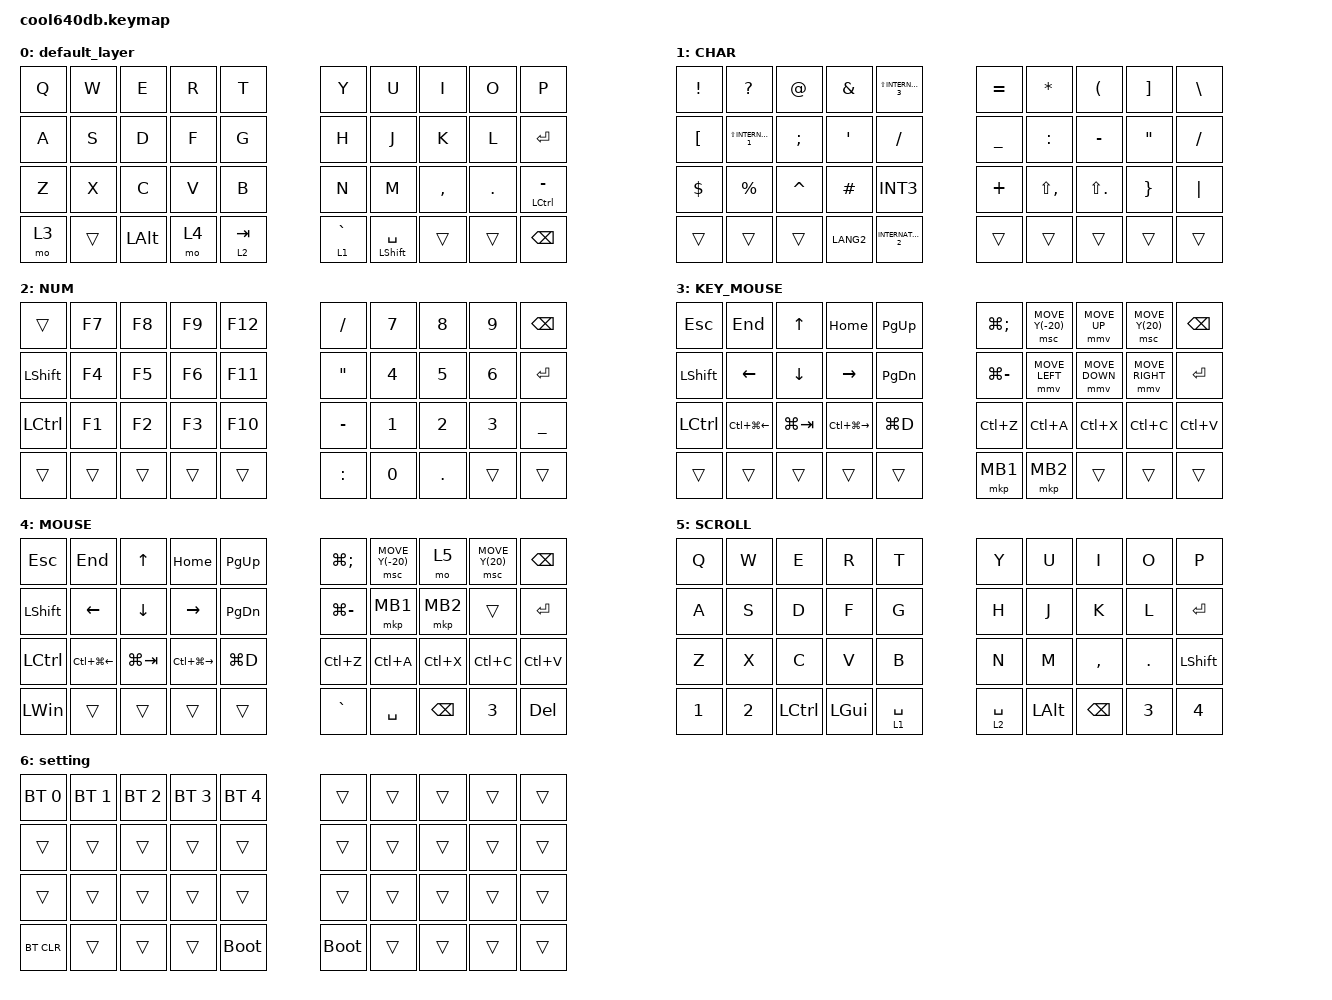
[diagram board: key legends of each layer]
#include <behaviors.dtsi>
#include <dt-bindings/zmk/bt.h>
#include <dt-bindings/zmk/keys.h>
#include <dt-bindings/zmk/pointing.h>

#define MOUSE 6

&mt {
    flavor = "balanced";
    quick-tap-ms = <0>;
};

/ {
    combos {
        compatible = "zmk,combos";

        BS {
            bindings = <&kp BACKSPACE>;
            key-positions = <9 8>;
            layers = <0>;
        };

        del {
            bindings = <&kp DEL>;
            key-positions = <7 8>;
        };

        to_mouse_layer {
            bindings = <&tog 4>;
            key-positions = <16 18>;
        };

        shift_tab {
            bindings = <&kp LANG2>;
            key-positions = <12 13>;
        };

        lang {
            bindings = <&kp LANG1>;
            key-positions = <16 17>;
        };

        to_setting {
            bindings = <&mo 6>;
            key-positions = <37 38>;
        };

        To_Key_Mouse_Layer {
            bindings = <&tog 3>;
            key-positions = <6 8>;
        };
    };

    macros {
        to_layer_0: to_layer_0 {
            compatible = "zmk,behavior-macro-one-param";
            #binding-cells = <1>;
            bindings = <&to 0 &macro_param_1to1 &kp MACRO_PLACEHOLDER>;
            label = "TO_LAYER_0";
        };
    };

    lt_to_layer_0: lt_to_layer_0 {
        compatible = "zmk,behavior-hold-tap";
        label = "LAYER_TAP_TO_0";
        bindings = <&mo>, <&to_layer_0>;

        #binding-cells = <2>;
        tapping-term-ms = <200>;
    };
};

/ {
    behaviors {
    };

    keymap {
        compatible = "zmk,keymap";

        default_layer {
            bindings = <
&kp Q  &kp W   &kp E     &kp R  &kp T      &kp Y        &kp U             &kp I      &kp O       &kp P
&kp A  &kp S   &kp D     &kp F  &kp G      &kp H        &kp J             &kp K      &kp L       &kp ENTER
&kp Z  &kp X   &kp C     &kp V  &kp B      &kp N        &kp M             &kp COMMA  &kp PERIOD  &mt LCTRL MINUS
&mo 3  &trans  &kp LALT  &mo 4  &lt 2 TAB  &lt 1 GRAVE  &mt LSHIFT SPACE  &trans     &trans      &kp BACKSPACE
            >;
        };

        CHAR {
            bindings = <
&kp EXCLAMATION   &kp QUESTION             &kp AT_SIGN    &kp AMPERSAND   &kp LS(INTERNATIONAL_3)  &kp EQUAL       &kp ASTERISK   &kp LEFT_PARENTHESIS  &kp RIGHT_BRACKET  &kp BACKSLASH
&kp LEFT_BRACKET  &kp LS(INTERNATIONAL_1)  &kp SEMICOLON  &kp APOSTROPHE  &kp SLASH                &kp UNDERSCORE  &kp COLON      &kp MINUS             &kp DOUBLE_QUOTES  &kp SLASH
&kp DOLLAR        &kp PERCENT              &kp CARET      &kp HASH        &kp INT3                 &kp PLUS        &kp LS(COMMA)  &kp LS(PERIOD)        &kp RIGHT_BRACE    &kp PIPE
&trans            &trans                   &trans         &kp LANG2       &kp INTERNATIONAL_2      &trans          &trans         &trans                &trans             &trans
            >;
        };

        NUM {
            bindings = <
&trans     &kp F7  &kp F8  &kp F9  &kp F12  &kp SLASH          &kp N7  &kp N8      &kp N9  &kp BACKSPACE
&kp LSHFT  &kp F4  &kp F5  &kp F6  &kp F11  &kp DOUBLE_QUOTES  &kp N4  &kp N5      &kp N6  &kp ENTER
&kp LCTRL  &kp F1  &kp F2  &kp F3  &kp F10  &kp MINUS          &kp N1  &kp N2      &kp N3  &kp UNDERSCORE
&trans     &trans  &trans  &trans  &trans   &kp COLON          &kp N0  &kp PERIOD  &trans  &trans
            >;
        };

        KEY_MOUSE {
            bindings = <
&kp ESCAPE  &kp END           &kp UP_ARROW    &kp HOME           &kp PG_UP  &kp LG(SEMICOLON)  &msc MOVE_Y(-20)  &mmv MOVE_UP    &msc MOVE_Y(20)  &kp BACKSPACE
&kp LSHFT   &kp LEFT          &kp DOWN_ARROW  &kp RIGHT          &kp PG_DN  &kp LG(MINUS)      &mmv MOVE_LEFT    &mmv MOVE_DOWN  &mmv MOVE_RIGHT  &kp ENTER
&kp LCTRL   &kp LC(LG(LEFT))  &kp LG(TAB)     &kp LC(LG(RIGHT))  &kp LG(D)  &kp LC(Z)          &kp LC(A)         &kp LC(X)       &kp LC(C)        &kp LC(V)
&trans      &trans            &trans          &trans             &trans     &mkp MB1           &mkp MB2          &trans          &trans           &trans
            >;
        };

        MOUSE {
            bindings = <
&kp ESCAPE      &kp END                 &kp UP_ARROW    &kp HOME                 &kp PG_UP      &kp LG(SEMICOLON)  &msc MOVE_Y(-20)  &mo 5          &msc MOVE_Y(20)  &kp BACKSPACE
&kp LEFT_SHIFT  &kp LEFT_ARROW          &kp DOWN_ARROW  &kp RIGHT_ARROW          &kp PAGE_DOWN  &kp LG(MINUS)      &mkp MB1          &mkp MB2       &trans           &kp ENTER
&kp LCTRL       &kp LC(LG(LEFT_ARROW))  &kp LG(TAB)     &kp LC(LG(RIGHT_ARROW))  &kp LG(D)      &kp LC(Z)          &kp LC(A)         &kp LC(X)      &kp LC(C)        &kp LC(V)
&kp LEFT_WIN    &trans                  &trans          &trans                   &trans         &kp GRAVE          &kp SPACE         &kp BACKSPACE  &kp N3           &kp DELETE
            >;
        };

        SCROLL {
            bindings = <
&kp Q   &kp W   &kp E             &kp R         &kp T        &kp Y        &kp U         &kp I          &kp O       &kp P
&kp A   &kp S   &kp D             &kp F         &kp G        &kp H        &kp J         &kp K          &kp L       &kp ENTER
&kp Z   &kp X   &kp C             &kp V         &kp B        &kp N        &kp M         &kp COMMA      &kp PERIOD  &kp LEFT_SHIFT
&kp N1  &kp N2  &kp LEFT_CONTROL  &kp LEFT_GUI  &lt 1 SPACE  &lt 2 SPACE  &kp LEFT_ALT  &kp BACKSPACE  &kp N3      &kp N4
            >;
        };

        setting {
            bindings = <
&bt BT_SEL 0  &bt BT_SEL 1  &bt BT_SEL 2  &bt BT_SEL 3  &bt BT_SEL 4  &trans       &trans  &trans  &trans  &trans
&trans        &trans        &trans        &trans        &trans        &trans       &trans  &trans  &trans  &trans
&trans        &trans        &trans        &trans        &trans        &trans       &trans  &trans  &trans  &trans
&bt BT_CLR    &trans        &trans        &trans        &bootloader   &bootloader  &trans  &trans  &trans  &trans
            >;
        };
    };
};
